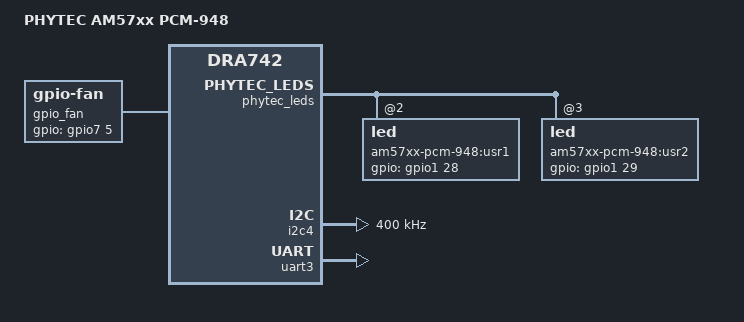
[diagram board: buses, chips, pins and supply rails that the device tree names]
/*
 * Copyright (C) 2014 Texas Instruments Incorporated - http://www.ti.com/
 *
 * This program is free software; you can redistribute it and/or modify
 * it under the terms of the GNU General Public License version 2 as
 * published by the Free Software Foundation.
 */
/ {
	model = "PHYTEC AM57xx PCM-948";
	compatible = "phytec,am57xx-pcm-948", "phytec,am57xx-phycore-som", "ti,am5728", "ti,dra742", "ti,dra74", "ti,dra7";

	hdmi0: connector {
		compatible = "hdmi-connector";
		status = "disabled";
		label = "hdmi";

		type = "a";

		port {
			hdmi_connector_in: endpoint {
				remote-endpoint = <&tpd12s521_out>;
			};
		};
	};

	tpd12s521: encoder {
		compatible = "ti,tpd12s521";
		status = "disabled";

		gpios = <&gpio7 12 GPIO_ACTIVE_HIGH>;	/* gpio7_12/sp1_cs2, HPD */

		ports {
			#address-cells = <1>;
			#size-cells = <0>;

			port@0 {
				reg = <0>;

				tpd12s521_in: endpoint {
					remote-endpoint = <&hdmi_out>;
				};
			};

			port@1 {
				reg = <1>;

				tpd12s521_out: endpoint {
					remote-endpoint = <&hdmi_connector_in>;
				};
			};
		};
	};

	gpio_fan: gpio_fan {
		compatible = "gpio-fan";
		pinctrl-names = "default";
		pinctrl-0 = <&fan_pins_default>;

		gpios =  <&gpio7 5 GPIO_ACTIVE_HIGH>;
		gpio-fan,speed-map = <0    0
				      13000 1>;
		cooling-min-state = <0>;
		cooling-max-state = <1>;
		#cooling-cells = <2>;
	};

};

&dra7_pmx_core {
	leds_cb_pins_default: leds_cb_pins_default {
		pinctrl-single,pins = <
			0x58 (PIN_OUTPUT | MUX_MODE14)	/* gpmc_a6.gpio1_28 */
			0x5c (PIN_OUTPUT | MUX_MODE14)	/* gpmc_a7.gpio1_29 */
		>;
	};

	leds_cb_pins_sleep: leds_cb_pins_sleep {
		pinctrl-single,pins = <
			0x58 (PIN_INPUT_PULLDOWN | MUX_MODE15)
			0x5c (PIN_INPUT_PULLDOWN | MUX_MODE15)
		>;
	};

	fan_pins_default: fan_pins_default {
		pinctrl-single,pins = <
			0x48 (PIN_OUTPUT | MUX_MODE14)	/* gpmc_a2.gpio7_5 */
		>;
	};

	i2c2_pins: pinmux_i2c2_pins {
		pinctrl-single,pins = <
			0x408 (PIN_INPUT | MUX_MODE1)	/* hdmi1_ddc_scl */
			0x40c (PIN_INPUT | MUX_MODE1)	/* hdmi1_ddc_sda */
		>;
	};

	i2c4_pins_default: i2c4_pins_default {
		pinctrl-single,pins = <
			0x40 (PIN_INPUT_PULLUP | MUX_MODE7)	/* gpmc_a0.i2c4_scl */
			0x44 (PIN_INPUT_PULLUP | MUX_MODE7)	/* gpmc_a1.i2c4_sda */
		>;
	};

	i2c4_pins_sleep: i2c4_pins_sleep {
		pinctrl-single,pins = <
			0x40 (PIN_INPUT | MUX_MODE15)
			0x44 (PIN_INPUT | MUX_MODE15)
		>;
	};

	uart3_pins_default: uart3_pins_default {
		pinctrl-single,pins = <
			0x248 (PIN_INPUT_SLEW | MUX_MODE0) /* uart3_rxd.rxd */
			0x24c (PIN_INPUT_SLEW | MUX_MODE0) /* uart3_txd.txd */
		>;
	};

	uart3_pins_sleep: uart3_pins_sleep{
		pinctrl-single,pins = <
			0x248 (PIN_INPUT | MUX_MODE15)
			0x24c (PIN_INPUT | MUX_MODE15)
		>;
	};

	uart5_pins_default: uart5_pins_default {
		pinctrl-single,pins = <
			0x1dc (PIN_INPUT_SLEW | MUX_MODE2) /* vout1_d0.uart5_rxd */
			0x1e0 (PIN_INPUT_SLEW | MUX_MODE2) /* vout1_d1.uart5_txd */
		>;
	};

	uart5_pins_sleep: uart5_pins_sleep{
		pinctrl-single,pins = <
			0x1dc (PIN_INPUT | MUX_MODE15)
			0x1e0 (PIN_INPUT | MUX_MODE15)
		>;
	};


	mmc1_pins_default: mmc1_pins_default {
		pinctrl-single,pins = <
			0x36c (PIN_INPUT | MUX_MODE14)	/* mmc1sdcd.gpio6_27 */
			0x354 (PIN_INPUT_PULLUP | MUX_MODE0) /* mmc1_clk.clk */
			0x358 (PIN_INPUT_PULLUP | MUX_MODE0) /* mmc1_cmd.cmd */
			0x35c (PIN_INPUT_PULLUP | MUX_MODE0) /* mmc1_dat0.dat0 */
			0x360 (PIN_INPUT_PULLUP | MUX_MODE0) /* mmc1_dat1.dat1 */
			0x364 (PIN_INPUT_PULLUP | MUX_MODE0) /* mmc1_dat2.dat2 */
			0x368 (PIN_INPUT_PULLUP | MUX_MODE0) /* mmc1_dat3.dat3 */
		>;
	};

	mmc1_pins_hs: mmc1_pins_hs {
		pinctrl-single,pins = <
			0x36c (PIN_INPUT | MUX_MODE14)	/* mmc1sdcd.gpio6_27 */
			0x354 (PIN_INPUT_PULLUP | MUX_VIRTUAL_MODE11 | MUX_MODE0) /* mmc1_clk.clk */
			0x358 (PIN_INPUT_PULLUP | MUX_VIRTUAL_MODE11 | MUX_MODE0) /* mmc1_cmd.cmd */
			0x35c (PIN_INPUT_PULLUP | MUX_VIRTUAL_MODE11 | MUX_MODE0) /* mmc1_dat0.dat0 */
			0x360 (PIN_INPUT_PULLUP | MUX_VIRTUAL_MODE11 | MUX_MODE0) /* mmc1_dat1.dat1 */
			0x364 (PIN_INPUT_PULLUP | MUX_VIRTUAL_MODE11 | MUX_MODE0) /* mmc1_dat2.dat2 */
			0x368 (PIN_INPUT_PULLUP | MUX_VIRTUAL_MODE11 | MUX_MODE0) /* mmc1_dat3.dat3 */
		>;
	};

	wlan_pins_default: wlan_pins_default {
		pinctrl-single,pins = <
			0x39c (PIN_OUTPUT_PULLDOWN | MUX_MODE14) /* mmc3_dat6.gpio1_24 */
			0x3a0 (PIN_INPUT_PULLDOWN | MUX_MODE14)  /* mmc3_dat7.gpio1_25 */
		>;
	};

	bt_pins_default: bt_pins_default {
		pinctrl-single,pins = <
			0x170 (PIN_INPUT_SLEW | MUX_MODE8) /* vin2a_d2.uart10.rxd */
			0x174 (PIN_INPUT_SLEW | MUX_MODE8) /* vin2a_d3.uart10.txd */
			0x178 (PIN_INPUT_SLEW | MUX_MODE8) /* vin2a_d4.uart10.ctsn */
			0x17c (PIN_INPUT_SLEW | MUX_MODE8) /* vin2a_d5.uart10.rtsn */
			0x394 (PIN_OUTPUT_PULLDOWN | MUX_MODE14) /* mmc3_dat4.gpio1_22 */
		>;
	};

	bt_pins_sleep: bt_pins_sleep {
		pinctrl-single,pins = <
			0x170 (PIN_INPUT | MUX_MODE15)
			0x174 (PIN_INPUT | MUX_MODE15)
			0x178 (PIN_INPUT | MUX_MODE15)
			0x17c (PIN_INPUT | MUX_MODE15)
			0x394 (PIN_OUTPUT_PULLUP | MUX_MODE14)
		>;
	};

	emac1_pins_default: emac1_pins_default {
		pinctrl-single,pins = <
			/* Slave 2 */
			0x198 (PIN_OUTPUT | MUX_MODE3)	/* rgmii2_tclk */
			0x19c (PIN_OUTPUT | MUX_MODE3)	/* rgmii2_tctl */
			0x1a0 (PIN_OUTPUT | MUX_MODE3)	/* rgmii2_td3 */
			0x1a4 (PIN_OUTPUT | MUX_MODE3)	/* rgmii2_td2 */
			0x1a8 (PIN_OUTPUT | MUX_MODE3)	/* rgmii2_td1 */
			0x1ac (PIN_OUTPUT | MUX_MODE3)	/* rgmii2_td0 */
			0x1b0 (PIN_INPUT | MUX_MODE3)	/* rgmii2_rclk */
			0x1b4 (PIN_INPUT | MUX_MODE3)	/* rgmii2_rctl */
			0x1b8 (PIN_INPUT | MUX_MODE3)	/* rgmii2_rd3 */
			0x1bc (PIN_INPUT | MUX_MODE3)	/* rgmii2_rd2 */
			0x1c0 (PIN_INPUT | MUX_MODE3)	/* rgmii2_rd1 */
			0x1c4 (PIN_INPUT | MUX_MODE3)	/* rgmii2_rd0 */
		>;

	};

	emac1_pins_sleep: emac1_pins_sleep {
		pinctrl-single,pins = <
			/* Slave 2 */
			0x198 (PIN_INPUT | MUX_MODE15)
			0x19c (PIN_INPUT | MUX_MODE15)
			0x1a0 (PIN_INPUT | MUX_MODE15)
			0x1a4 (PIN_INPUT | MUX_MODE15)
			0x1a8 (PIN_INPUT | MUX_MODE15)
			0x1ac (PIN_INPUT | MUX_MODE15)
			0x1b0 (PIN_INPUT | MUX_MODE15)
			0x1b4 (PIN_INPUT | MUX_MODE15)
			0x1b8 (PIN_INPUT | MUX_MODE15)
			0x1bc (PIN_INPUT | MUX_MODE15)
			0x1c0 (PIN_INPUT | MUX_MODE15)
			0x1c4 (PIN_INPUT | MUX_MODE15)
		>;
	};

	hdmi_pins: pinmux_hdmi_pins {
		pinctrl-single,pins = <
			0x3b8 (PIN_INPUT_PULLDOWN | MUX_MODE14) /* spi1_cs2.gpio7_12 */
			0x3bc (PIN_INPUT_SLEW | MUX_MODE6)      /* spi1_cs3.hdmi1_cec */
		>;
	};

	usb1_pins: pinmux_usb1_pins {
		pinctrl-single,pins = <
			0x280 (PIN_INPUT_SLEW | MUX_MODE0) /* usb1_drvvbus */
			0x22c (PIN_INPUT | MUX_MODE14)     /* vout1_d20.gpio8_20 */
		>;
	};

	usb2_pins_default: pinmux_usb2_pins_default {
		pinctrl-single,pins = <
			0x1d0 (PIN_INPUT | MUX_MODE14)	   /* vout1_fld.gpio4_21 */
			0x284 (PIN_INPUT_SLEW | MUX_MODE0) /* usb2_drvvbus */
			0x230 (PIN_INPUT | MUX_MODE14)     /* vout1_d21.gpio8_21 */
		>;
	};

	usb2_pins_sleep: pinmux_usb2_pins_sleep {
		pinctrl-single,pins = <
			0x1d0 (PIN_INPUT | MUX_MODE14)	   /* vout1_fld.gpio4_21 */
			0x284 (PIN_INPUT_SLEW | MUX_MODE15) /* usb2_drvvbus */
			0x230 (PIN_INPUT | MUX_MODE14)     /* vout1_d21.gpio8_21 */
		>;
	};

	extcon_pins_default:  extcon_pins_default {
		pinctrl-single,pins = <
			0x1f4 (PIN_INPUT | MUX_MODE14) /* vout1_d6.gpio8_6 */
		>;
	};

	clkout2_pins_default: clkout2_pins_default {
		pinctrl-single,pins = <
			0x294 (PIN_INPUT_PULLDOWN | MUX_MODE9)	/* xref_clk0.clkout2 */
		>;
	};

	clkout2_pins_sleep: clkout2_pins_sleep {
		pinctrl-single,pins = <
			0x294 (PIN_INPUT | MUX_MODE15)	/* xref_clk0.clkout2 */
		>;
	};
};

&phytec_leds {
		pinctrl-0 = <&leds_som_pins_default &leds_cb_pins_default>;

		led@2 {
			label = "am57xx-pcm-948:usr1";
			gpios = <&gpio1 28 GPIO_ACTIVE_HIGH>;
			linux,default-trigger = "gpio";
			default-state = "off";
		};

		led@3 {
			label = "am57xx-pcm-948:usr2";
			gpios = <&gpio1 29 GPIO_ACTIVE_HIGH>;
			linux,default-trigger = "gpio";
			default-state = "off";
		};
};

&tps659038 {
	tps659038_usb: tps659038_usb {
		status = "disabled";
		compatible = "ti,palmas-usb-vid";
		pinctrl-names = "default";
		pinctrl-0 = <&extcon_pins_default>;
		id-gpios = <&gpio8 6 GPIO_ACTIVE_HIGH>;

		ti,enable-vbus-detection;
		ti,enable-id-detection;
	};
};

&i2c4 {
	status = "okay";
	pinctrl-names = "default", "sleep";
	pinctrl-0 = <&i2c4_pins_default>;
	pinctrl-1 = <&i2c4_pins_sleep>;
	clock-frequency = <400000>;
};

&uart3 {
        status = "okay";
        pinctrl-names = "default";
        pinctrl-0 = <&uart3_pins_default>;

	interrupts-extended = <&crossbar_mpu GIC_SPI 69 IRQ_TYPE_LEVEL_HIGH
			       &dra7_pmx_core 0x248>;
};

&uart5 {
        status = "disabled";
        pinctrl-names = "default", "sleep";
        pinctrl-0 = <&uart5_pins_default>;
        pinctrl-1 = <&uart5_pins_sleep>;

	interrupts-extended = <&crossbar_mpu GIC_SPI 100 IRQ_TYPE_LEVEL_HIGH
			       &dra7_pmx_core 0x1dc>;
};

&mac {
	slaves = <2>;
	pinctrl-names = "default", "sleep";
	pinctrl-0 = <&emac0_pins_default &emac1_pins_default>;
	pinctrl-1 = <&emac0_pins_sleep &emac1_pins_sleep>;
	dual_emac;
};

&cpsw_emac1 {
	phy_id = <&davinci_mdio>, <2>;
	phy-mode = "rgmii";
	dual_emac_res_vlan = <2>;
	status = "disabled";
};

&mmc1 {
	status = "disabled";
	pinctrl-names = "default", "hs";
	pinctrl-0 = <&mmc1_pins_default>;
	pinctrl-1 = <&mmc1_pins_hs>;

	vmmc-supply = <&ldo1_reg>;
	vmmc_aux-supply = <&vdd_3v3>;
	pbias-supply = <&pbias_mmc_reg>;
	bus-width = <4>;

	cd-gpios = <&gpio6 27 GPIO_ACTIVE_LOW>; /* gpio 219 */
};

&dss {
	vdda_video-supply = <&ldoln_reg>;
};

&hdmi {
	status = "disabled";
	pinctrl-names = "default";
	pinctrl-0 = <&hdmi_pins &i2c2_pins>;

	vdda-supply = <&ldo4_reg>;

	port {
		hdmi_out: endpoint {
			remote-endpoint = <&tpd12s521_in>;
		};
	};
};

&usb2_phy1 {
       phy-supply = <&ldousb_reg>;
};

&usb2_phy2 {
       phy-supply = <&ldousb_reg>;
};

&usb1 {
	status = "disabled";
	pinctrl-names = "default";
	pinctrl-0 = <&usb1_pins>;

	dr_mode = "host";
};

&omap_dwc3_2 {
	status = "disabled";
	extcon = <&tps659038_usb>;
};

&usb2 {
	status = "disabled";
	pinctrl-0 = <&usb2_pins_default>;
	pinctrl-1 = <&usb2_pins_sleep>;

	pinctrl-names = "default", "sleep";
};

&cpu_trips {
	cpu_alert1: cpu_alert1 {
		temperature = <75000>; /* millicelsius */
		hysteresis = <2000>; /* millicelsius */
		type = "active";
	};
};

&cpu_cooling_maps {
	map1 {
		trip = <&cpu_alert1>;
		cooling-device = <&gpio_fan THERMAL_NO_LIMIT THERMAL_NO_LIMIT>;
	};
};
